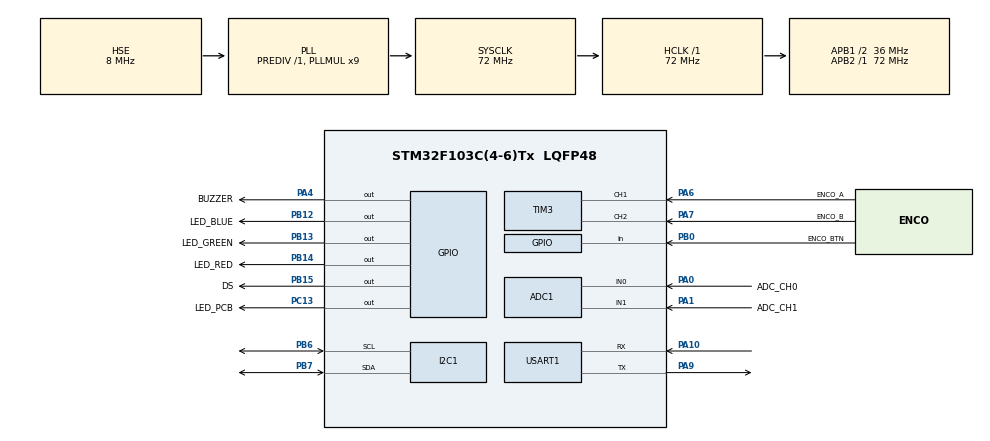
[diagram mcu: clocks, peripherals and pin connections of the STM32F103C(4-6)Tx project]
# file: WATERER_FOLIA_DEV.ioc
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ADC1.Channel-0\#ChannelRegularConversion=ADC_CHANNEL_0
ADC1.Channel-1\#ChannelRegularConversion=ADC_CHANNEL_1
ADC1.ContinuousConvMode=ENABLE
ADC1.DiscontinuousConvMode=DISABLE
ADC1.EnableInjectedConversion=DISABLE
ADC1.InjNumberOfConversion=2
ADC1.NbrOfConversion=2
ADC1.NbrOfConversionFlag=1
ADC1.Rank-0\#ChannelRegularConversion=1
ADC1.Rank-1\#ChannelRegularConversion=2
ADC1.SamplingTime-0\#ChannelRegularConversion=ADC_SAMPLETIME_28CYCLES_5
ADC1.SamplingTime-1\#ChannelRegularConversion=ADC_SAMPLETIME_28CYCLES_5
ADC1.master=1
Dma.ADC1.0.Direction=DMA_PERIPH_TO_MEMORY
Dma.ADC1.0.Instance=DMA1_Channel1
Dma.ADC1.0.MemDataAlignment=DMA_MDATAALIGN_HALFWORD
Dma.ADC1.0.MemInc=DMA_MINC_ENABLE
Dma.ADC1.0.Mode=DMA_NORMAL
Dma.ADC1.0.PeriphDataAlignment=DMA_PDATAALIGN_HALFWORD
Dma.ADC1.0.PeriphInc=DMA_PINC_DISABLE
Dma.ADC1.0.Priority=DMA_PRIORITY_LOW
Dma.Request0=ADC1
I2C1.I2C_Mode=I2C_Fast
Mcu.Family=STM32F1
Mcu.Name=STM32F103C(4-6)Tx
Mcu.Package=LQFP48
NVIC.DMA1_Channel1_IRQn=true\:0\:0\:false\:false\:true\:false\:true\:true
NVIC.PriorityGroup=NVIC_PRIORITYGROUP_4
NVIC.TIM1_UP_IRQn=true\:0\:0\:false\:false\:true\:true\:true\:true
PA0-WKUP.GPIO_Label=ADC_CH0
PA0-WKUP.Signal=ADCx_IN0
PA1.GPIO_Label=ADC_CH1
PA1.Signal=ADCx_IN1
PA10.Mode=Asynchronous
PA10.Signal=USART1_RX
PA13.Mode=Serial_Wire
PA13.Signal=SYS_JTMS-SWDIO
PA14.Mode=Serial_Wire
PA14.Signal=SYS_JTCK-SWCLK
PA4.GPIO_Label=BUZZER
PA4.Signal=GPIO_Output
PA6.GPIO_Label=ENCO_A
PA6.GPIO_PuPd=GPIO_PULLUP
PA6.Signal=S_TIM3_CH1
PA7.GPIO_Label=ENCO_B
PA7.GPIO_PuPd=GPIO_PULLUP
PA7.Signal=S_TIM3_CH2
PA9.Mode=Asynchronous
PA9.Signal=USART1_TX
PB0.GPIO_Label=ENCO_BTN
PB0.GPIO_PuPd=GPIO_PULLUP
PB0.Signal=GPIO_Input
PB12.GPIO_Label=LED_BLUE
PB12.PinState=GPIO_PIN_SET
PB12.Signal=GPIO_Output
PB13.GPIO_Label=LED_GREEN
PB13.PinState=GPIO_PIN_SET
PB13.Signal=GPIO_Output
PB14.GPIO_Label=LED_RED
PB14.PinState=GPIO_PIN_SET
PB14.Signal=GPIO_Output
PB15.GPIO_Label=DS
PB15.GPIO_ModeDefaultOutputPP=GPIO_MODE_OUTPUT_OD
PB15.GPIO_PuPd=GPIO_NOPULL
PB15.GPIO_Speed=GPIO_SPEED_FREQ_HIGH
PB15.PinState=GPIO_PIN_SET
PB15.Signal=GPIO_Output
PB6.Mode=I2C
PB6.Signal=I2C1_SCL
PB7.Mode=I2C
PB7.Signal=I2C1_SDA
PC13-TAMPER-RTC.GPIO_Label=LED_PCB
PC13-TAMPER-RTC.Signal=GPIO_Output
PC14-OSC32_IN.Mode=LSE-External-Oscillator
PC14-OSC32_IN.Signal=RCC_OSC32_IN
PC15-OSC32_OUT.Mode=LSE-External-Oscillator
PC15-OSC32_OUT.Signal=RCC_OSC32_OUT
PD0-OSC_IN.Mode=HSE-External-Oscillator
PD0-OSC_IN.Signal=RCC_OSC_IN
PD1-OSC_OUT.Mode=HSE-External-Oscillator
PD1-OSC_OUT.Signal=RCC_OSC_OUT
ProjectManager.HeapSize=0x200
ProjectManager.StackSize=0x400
ProjectManager.TargetToolchain=STM32CubeIDE
RCC.ADCPresc=RCC_ADCPCLK2_DIV6
RCC.AHBFreq_Value=72000000
RCC.APB1CLKDivider=RCC_HCLK_DIV2
RCC.APB1Freq_Value=36000000
RCC.APB1TimFreq_Value=72000000
RCC.APB2Freq_Value=72000000
RCC.APB2TimFreq_Value=72000000
RCC.EnbaleCSS=true
RCC.HCLKFreq_Value=72000000
RCC.PLLMUL=RCC_PLL_MUL9
RCC.PLLSourceVirtual=RCC_PLLSOURCE_HSE
RCC.SYSCLKFreq_VALUE=72000000
RCC.SYSCLKSource=RCC_SYSCLKSOURCE_PLLCLK
RCC.USBFreq_Value=72000000
SH.ADCx_IN0.0=ADC1_IN0,IN0
SH.ADCx_IN0.1=ADC2_IN0
SH.ADCx_IN1.0=ADC1_IN1,IN1
SH.S_TIM3_CH1.0=TIM3_CH1,Encoder_Interface
SH.S_TIM3_CH2.0=TIM3_CH2,Encoder_Interface
TIM1.AutoReloadPreload=TIM_AUTORELOAD_PRELOAD_ENABLE
TIM1.Period=999
TIM1.Prescaler=71
TIM2.AutoReloadPreload=TIM_AUTORELOAD_PRELOAD_ENABLE
TIM2.Prescaler=71
USART1.VirtualMode=VM_ASYNC
VP_TIM1_VS_ClockSourceINT.Mode=Internal
VP_TIM2_VS_ClockSourceINT.Mode=Internal
board=custom

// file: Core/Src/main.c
/* USER CODE BEGIN Header */
/**
 ******************************************************************************
 * @file           : main.c
 * @brief          : Main program body
 ******************************************************************************
 * @attention
 *
 * Copyright (c) 2022 STMicroelectronics.
 * All rights reserved.
 *
 * This software is licensed under terms that can be found in the LICENSE file
 * in the root directory of this software component.
 * If no LICENSE file comes with this software, it is provided AS-IS.
 *
 ******************************************************************************
 */
/* USER CODE END Header */
#include "main.h"
#include "adc.h"
#include "dma.h"
#include "tim.h"
#include "usart.h"
#include "gpio.h"

/* USER CODE BEGIN Includes */
#include "i2c.h"
#include <stdarg.h>
#include <string.h>
#include <stdio.h>
#include "../../OLED2/fonts.h"
#include "../../OLED2/ssd1306.h"
#include "eeprom.h"
#include "ds18b20.h"
#include "encoder.h"
#include "menu.h"
#include "higrometer.h"
#include "cfg.h"
#include "waterer_math.h"

/* USER CODE END Includes */

/* USER CODE BEGIN PD */
#define SEPARATOR '^'
#define ZERO_SING '@'
/* USER CODE END PD */

/* USER CODE BEGIN PV */

char buf[30];
uint16_t Ch1, Ch2, raw1, raw2;
float ch1Volt, ch2Volt;
uint16_t softTimer1, softTimer2;
uint16_t eepromValue, encoVal = 100;
int16_t tmpC;
uint32_t addres;
uint8_t menuOk;

ds18b20_T ds1;
oneWire_t oneWire1;
Encoder_T enco;

/* USER CODE END PV */

void SystemClock_Config(void);
/* USER CODE BEGIN PFP */

void EncoINC(void);
void EncoDEC(void);
void TogLed(void);
void Menu_In(void);
/* USER CODE END PFP */

int main(void)
{

	/* MCU Configuration--------------------------------------------------------*/

	/* Reset of all peripherals, Initializes the Flash interface and the Systick. */
	HAL_Init();

	/* USER CODE BEGIN Init */
//akat
	/* USER CODE END Init */

	/* Configure the system clock */
	SystemClock_Config();

	/* USER CODE BEGIN SysInit */
	HAL_FLASH_Unlock();
	/* USER CODE END SysInit */

	/* Initialize all configured peripherals */
	MX_GPIO_Init();
	MX_DMA_Init();
	MX_USART1_UART_Init();
	MX_ADC1_Init();
	MX_TIM3_Init();
	MX_TIM1_Init();
	MX_TIM2_Init();
	/* USER CODE BEGIN 2 */

	MX_I2C1_Init();
	SSD1306_Init();
	HAL_TIM_Base_Start_IT(&htim1);
	HAL_TIM_Base_Start(&htim2);
	Encoder_Init(&enco, ENCO_BTN_GPIO_Port, ENCO_BTN_Pin, &htim3,
	TIM_CHANNEL_ALL, &softTimer2);
	HigroInit(&hadc1);

	Cfg_Init();

	display.ch1LowNew = GetCh1_LowCalibVal();
	display.ch1HighNew = GetCh1_HighCalibVal();
	display.ch2LowNew = GetCh2_LowCalibVal();
	display.ch2HighNew = GetCh2_HighCalibVal();
	display.ch1TooDry = GetCh1_TooDryVal();
	display.ch2TooDry = GetCh2_TooDryVal();
	display.displayTime = GetDisp_TimeONOFF();

	wire_init(&oneWire1, &htim2, DS_GPIO_Port, DS_Pin);
	ds18b20_init(&ds1, &oneWire1);
	ds18b20_read_address(&ds1);
	menuOk = 0;

	/* USER CODE END 2 */

	/* Infinite loop */
	while (1)
	{

		/* USER CODE BEGIN 3 */

		HigroMeasure();
		Encoder_Event(&enco);

		raw1 = Get_Data_CH1();
		raw2 = Get_Data_CH2();

		Ch1 = Calibration(GetCh1_LowCalibVal(), GetCh1_HighCalibVal(), raw1);
		Ch2 = Calibration(GetCh2_LowCalibVal(), GetCh2_HighCalibVal(), raw2);

		if (!softTimer1)
		{
			/*MENU SCREEN DISPLAY*/
			if (menuOk & (1 << 0))
			{

				display.ch1Low = Ch1;
				display.ch2Low = Ch2;
				display.ch1rawVal = raw1;
				display.ch2rawVal = raw2;
				Menu_Refresh();

				if (!(menuOk & (1 << 1)))
				{
					EncoderRegisterCallback(&enco, Menu_Enter, Menu_Next,
							Menu_Prev);
					menuOk |= (1 << 1);
					menuOk &= ~(1 << 2);
				}

			}
			/*MAIN SCREEN DISPLAY*/
			else if (!(menuOk & (1 << 0)))
			{

				SSD1306_GotoXY(0, 0);
				sprintf_v5(buf, "Temp:^C  ", sizeof(buf), 0, tmpC);
				SSD1306_Puts(buf, &Font_7x10, 1);

				SSD1306_GotoXY(0, 10);
				sprintf_v5(buf, "CH0:^% ,CH1:^%      ", sizeof(buf), 0, Ch1,
						Ch2);
				SSD1306_Puts(buf, &Font_7x10, 1);

				SSD1306_DrawFilledRectangle(0, 20, 120, 10, 0);
				SSD1306_DrawFilledRectangle(0, 20, Ch1, 10, 1);

				SSD1306_DrawFilledRectangle(0, 40, 120, 10, 0);
				SSD1306_DrawFilledRectangle(0, 40, Ch2, 10, 1);

				SSD1306_GotoXY(0, 52);
				sprintf_v5(buf, "EEPROM=^, EN:^  ", sizeof(buf), 0, eepromValue,
						encoVal);
				SSD1306_Puts(buf, &Font_7x10, 1);

				ds18b20_start_measure(&ds1);
				ds18b20_get_temp(&ds1, &tmpC, NULL);

				SSD1306_UpdateScreen();

				if (!(menuOk & (1 << 2)))
				{
					EncoderRegisterCallback(&enco, Menu_In, EncoINC, EncoDEC);
					menuOk |= (1 << 2);
					menuOk &= ~(1 << 1);
				}

			}

			softTimer1 = 33;
		}

	}
	/* USER CODE END 3 */
}

void SystemClock_Config(void)
{
	RCC_OscInitTypeDef RCC_OscInitStruct =
	{ 0 };
	RCC_ClkInitTypeDef RCC_ClkInitStruct =
	{ 0 };
	RCC_PeriphCLKInitTypeDef PeriphClkInit =
	{ 0 };

	/** Initializes the RCC Oscillators according to the specified parameters
	 * in the RCC_OscInitTypeDef structure.
	 */
	RCC_OscInitStruct.OscillatorType = RCC_OSCILLATORTYPE_HSE;
	RCC_OscInitStruct.HSEState = RCC_HSE_ON;
	RCC_OscInitStruct.HSEPredivValue = RCC_HSE_PREDIV_DIV1;
	RCC_OscInitStruct.HSIState = RCC_HSI_ON;
	RCC_OscInitStruct.PLL.PLLState = RCC_PLL_ON;
	RCC_OscInitStruct.PLL.PLLSource = RCC_PLLSOURCE_HSE;
	RCC_OscInitStruct.PLL.PLLMUL = RCC_PLL_MUL9;
	if (HAL_RCC_OscConfig(&RCC_OscInitStruct) != HAL_OK)
	{
		Error_Handler();
	}

	/** Initializes the CPU, AHB and APB buses clocks
	 */
	RCC_ClkInitStruct.ClockType = RCC_CLOCKTYPE_HCLK | RCC_CLOCKTYPE_SYSCLK
			| RCC_CLOCKTYPE_PCLK1 | RCC_CLOCKTYPE_PCLK2;
	RCC_ClkInitStruct.SYSCLKSource = RCC_SYSCLKSOURCE_PLLCLK;
	RCC_ClkInitStruct.AHBCLKDivider = RCC_SYSCLK_DIV1;
	RCC_ClkInitStruct.APB1CLKDivider = RCC_HCLK_DIV2;
	RCC_ClkInitStruct.APB2CLKDivider = RCC_HCLK_DIV1;

	if (HAL_RCC_ClockConfig(&RCC_ClkInitStruct, FLASH_LATENCY_2) != HAL_OK)
	{
		Error_Handler();
	}
	PeriphClkInit.PeriphClockSelection = RCC_PERIPHCLK_ADC;
	PeriphClkInit.AdcClockSelection = RCC_ADCPCLK2_DIV6;
	if (HAL_RCCEx_PeriphCLKConfig(&PeriphClkInit) != HAL_OK)
	{
		Error_Handler();
	}

	/** Enables the Clock Security System
	 */
	HAL_RCC_EnableCSS();
}

/* USER CODE BEGIN 4 */

void HAL_TIM_PeriodElapsedCallback(TIM_HandleTypeDef *htim)
{

	if (softTimer1)
		softTimer1--;

	if (softTimer2)
		softTimer2--;

}

void Menu_In(void)
{
	menuOk |= (1 << 0);
}

char* sprintf_v5(char *source, char *txt, uint8_t buf_size, uint8_t zeroEnable,
		unsigned int value, ...)
{
	uint8_t i = 0;
	uint8_t tmp = 0;
	va_list arg;
	uint32_t var = value;

	memset(source, 0x00, (buf_size));

	va_start(arg, value);

	while (*(txt + i))
	{
		if ((*(txt + i)) != SEPARATOR && (*(txt + i)) != ZERO_SING)
		{
			*(source + tmp) = *(txt + i);
			i++;
			tmp++;
		}
		else if ((*(txt + i)) == SEPARATOR)
		{
			char buf[20];
			int j = 0;
			i += 1;

			itoa(var, buf, 10);

			while (*(buf + j))
			{
				*(source + tmp) = *(buf + j);
				j++;
				tmp++;
			}
			var = va_arg(arg, unsigned int);

		}
		else if ((*(txt + i)) == ZERO_SING)
		{
			i += 1;
			*(source + tmp) = '.';
			tmp += 1;
			if (zeroEnable)
			{
				*(source + tmp) = '0';
				tmp += 1;
			}
		}
	}
	va_end(arg);
	return source;
}

void EncoINC(void)
{
	encoVal++;
}

void EncoDEC(void)
{
	if (encoVal)
		encoVal--;
}

void ToggLed(void)
{

	HAL_GPIO_TogglePin(LED_BLUE_GPIO_Port, LED_BLUE_Pin);

}

/* USER CODE END 4 */

void Error_Handler(void)
{
	__disable_irq();
	while (1)
	{
	}
}
